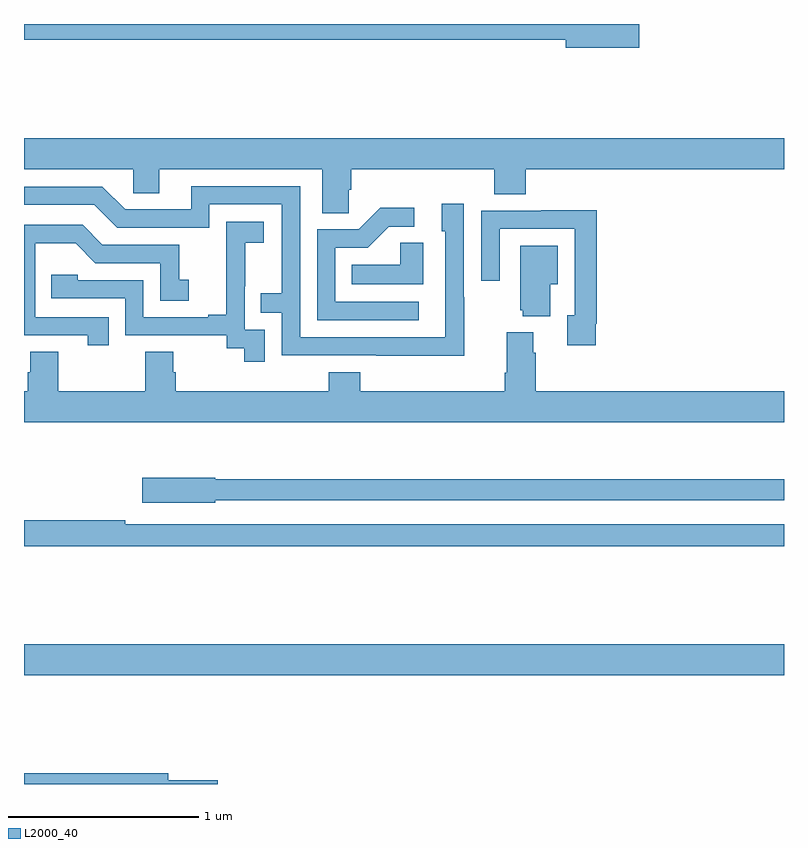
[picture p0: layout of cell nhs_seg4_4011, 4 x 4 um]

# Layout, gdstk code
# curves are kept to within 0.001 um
import gdstk
lib = gdstk.Library(unit=1e-6, precision=1e-09)
def R(c, l, rs):  # rectangles x0, y0, x1, y1
    for r in rs: c.add(gdstk.rectangle(r[:2], r[2:], *l))
def P(c, l, *ps):  # polygons
    for p in ps: c.add(gdstk.Polygon(p, *l))
L2000_40 = (2000, 40)

nhs_seg4_4011 = lib.new_cell('nhs_seg4_4011')
R(nhs_seg4_4011, L2000_40, [(323,811.472,327,811.636)])
P(nhs_seg4_4011, L2000_40, [(326.239,814.9),(323,814.9),(323,814.816),(325.85,814.816),(325.85,814.774),(326.239,814.774)],
  [(324.708,814.027),(324.722,814.027),(324.722,814.136),(325.475,814.136),(325.475,814.003),(325.64,814.003),(325.64,814.136),(327,814.136),(327,814.3),(323,814.3),(323,814.136),(323.574,814.136),(323.574,814.009),(323.713,814.009),(323.713,814.136),(324.569,814.136),(324.569,813.904),(324.708,813.904)],
  [(325.317,813.461),(325.314,813.461),(325.314,813.955),(325.199,813.955),(325.199,813.81),(325.218,813.81),(325.218,813.252),(324.453,813.252),(324.453,814.047),(323.879,814.047),(323.879,813.924),(323.532,813.924),(323.412,814.044),(323,814.044),(323,813.948),(323.37,813.948),(323.49,813.828),(323.976,813.828),(323.976,813.951),(324.357,813.951),(324.357,813.482),(324.247,813.482),(324.247,813.381),(324.357,813.381),(324.357,813.156),(325.317,813.155)],
  [(325.078,813.438),(324.639,813.438),(324.639,813.723),(324.808,813.723),(324.919,813.834),(325.054,813.834),(325.054,813.932),(324.875,813.932),(324.762,813.819),(324.543,813.819),(324.543,813.342),(325.078,813.342)],
  [(326.008,813.322),(326.015,813.322),(326.015,813.92),(325.723,813.92),(325.723,813.918),(325.407,813.918),(325.407,813.549),(325.503,813.549),(325.503,813.822),(325.899,813.822),(325.899,813.366),(325.859,813.366),(325.859,813.21),(326.008,813.21)],
  [(324.267,813.291),(324.162,813.291),(324.162,813.521),(324.164,813.521),(324.164,813.749),(324.262,813.749),(324.262,813.859),(324.064,813.859),(324.064,813.653),(324.065,813.653),(324.065,813.37),(323.969,813.37),(323.969,813.357),(323.628,813.357),(323.628,813.552),(323.283,813.552),(323.283,813.579),(323.143,813.579),(323.143,813.456),(323.532,813.456),(323.532,813.261),(324.066,813.261),(324.066,813.193),(324.159,813.193),(324.159,813.123),(324.267,813.123)],
  [(323.447,813.357),(323.058,813.357),(323.058,813.746),(323.272,813.746),(323.376,813.642),(323.718,813.642),(323.718,813.444),(323.866,813.444),(323.866,813.553),(323.817,813.553),(323.817,813.738),(323.413,813.738),(323.308,813.843),(323,813.843),(323,813.261),(323.336,813.261),(323.336,813.21),(323.447,813.21)],
  [(325.102,813.749),(324.981,813.749),(324.981,813.634),(324.724,813.634),(324.724,813.53),(325.102,813.53)],
  [(325.771,813.53),(325.81,813.53),(325.81,813.733),(325.613,813.733),(325.613,813.393),(325.625,813.393),(325.625,813.362),(325.771,813.362)],
  [(327,812.968),(325.694,812.968),(325.694,813.17),(325.681,813.17),(325.681,813.277),(325.541,813.277),(325.541,813.064),(325.529,813.064),(325.529,812.968),(324.77,812.968),(324.77,813.067),(324.605,813.067),(324.605,812.968),(323.798,812.968),(323.798,813.066),(323.785,813.066),(323.785,813.176),(323.638,813.176),(323.638,812.968),(323.181,812.968),(323.181,813.176),(323.033,813.176),(323.033,813.066),(323.021,813.066),(323.021,812.968),(323,812.968),(323,812.804),(327,812.804)],
  [(324.006,812.394),(327,812.394),(327,812.503),(324.006,812.503),(324.006,812.511),(323.622,812.511),(323.622,812.381),(324.006,812.381)],
  [(327,812.268),(323.534,812.268),(323.534,812.288),(323,812.288),(323,812.152),(327,812.152)],
  [(324.019,810.92),(323.758,810.92),(323.758,810.956),(323,810.956),(323,810.9),(324.019,810.9)])

lib.write_gds('nhs_seg4_4011.gds')
